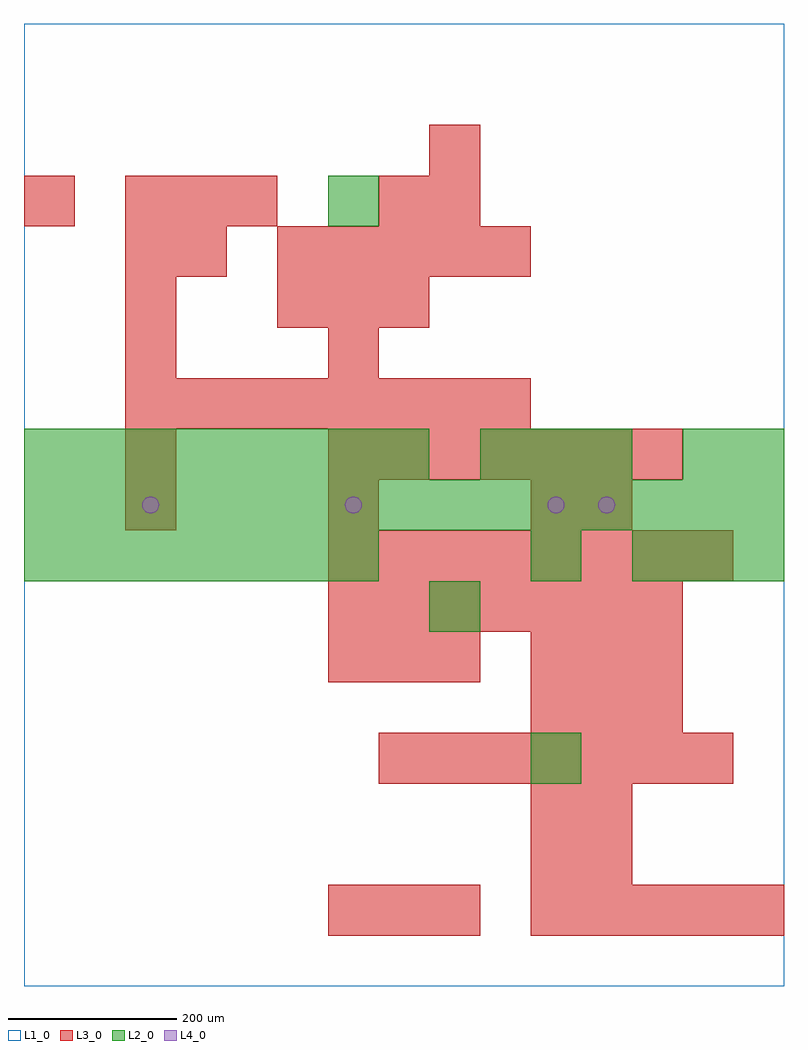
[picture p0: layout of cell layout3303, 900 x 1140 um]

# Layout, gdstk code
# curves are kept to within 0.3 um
import gdstk
lib = gdstk.Library(unit=1e-6, precision=1e-09)
def R(c, l, rs):  # rectangles x0, y0, x1, y1
    for r in rs: c.add(gdstk.rectangle(r[:2], r[2:], *l))
def A(c, l, x, y, w, h, nx, ny, dx, dy):  # array of equal rectangles
    R(c, l, [(x+i*dx, y+j*dy, x+i*dx+w, y+j*dy+h) for i in range(nx) for j in range(ny)])
def P(c, l, *ps):  # polygons
    for p in ps: c.add(gdstk.Polygon(p, *l))
L1_0 = (1, 0)
L2_0 = (2, 0)
L3_0 = (3, 0)
L4_0 = (4, 0)

layout3303 = lib.new_cell('layout3303')
R(layout3303, L1_0, [(0,0,900,1140)])
A(layout3303, L2_0, 0, 480, 60, 60, 7, 1, 60, 0)
A(layout3303, L2_0, 720, 480, 60, 60, 3, 1, 60, 0)
A(layout3303, L2_0, 0, 540, 60, 60, 15, 1, 60, 0)
A(layout3303, L2_0, 0, 600, 60, 60, 8, 1, 60, 0)
A(layout3303, L2_0, 540, 600, 60, 60, 3, 1, 60, 0)
R(layout3303, L2_0, [(600,240,660,300), (480,420,540,480), (600,480,660,540), (780,600,840,660), (840,600,900,660), (360,900,420,960)])
A(layout3303, L3_0, 360, 60, 60, 60, 3, 2, 60, 300)
A(layout3303, L3_0, 600, 60, 60, 60, 5, 1, 60, 0)
A(layout3303, L3_0, 420, 240, 60, 60, 7, 1, 60, 0)
A(layout3303, L3_0, 600, 300, 60, 60, 3, 2, 60, 60)
A(layout3303, L3_0, 360, 420, 60, 60, 7, 2, 60, 180)
A(layout3303, L3_0, 360, 480, 60, 60, 8, 1, 60, 0)
A(layout3303, L3_0, 120, 540, 60, 60, 3, 1, 240, 0)
A(layout3303, L3_0, 120, 660, 60, 60, 8, 1, 60, 0)
A(layout3303, L3_0, 120, 720, 60, 60, 1, 3, 0, 60)
A(layout3303, L3_0, 300, 780, 60, 60, 3, 1, 60, 0)
A(layout3303, L3_0, 300, 840, 60, 60, 5, 1, 60, 0)
A(layout3303, L3_0, 120, 900, 60, 60, 3, 1, 60, 0)
R(layout3303, L3_0, [(600,120,660,180), (660,120,720,180), (600,180,660,240), (660,180,720,240), (660,540,720,600), (120,600,180,660), (360,720,420,780), (180,840,240,900), (0,900,60,960), (420,900,480,960), (480,900,540,960), (480,960,540,1020)])
P(layout3303, L4_0, [(160,570),(159.239,573.827),(157.071,577.071),(153.827,579.239),(150,580),(146.173,579.239),(142.929,577.071),(140.761,573.827),(140,570),(140.761,566.173),(142.929,562.929),(146.173,560.761),(150,560),(153.827,560.761),(157.071,562.929),(159.239,566.173)],
  [(400,570),(399.239,573.827),(397.071,577.071),(393.827,579.239),(390,580),(386.173,579.239),(382.929,577.071),(380.761,573.827),(380,570),(380.761,566.173),(382.929,562.929),(386.173,560.761),(390,560),(393.827,560.761),(397.071,562.929),(399.239,566.173)],
  [(640,570),(639.239,573.827),(637.071,577.071),(633.827,579.239),(630,580),(626.173,579.239),(622.929,577.071),(620.761,573.827),(620,570),(620.761,566.173),(622.929,562.929),(626.173,560.761),(630,560),(633.827,560.761),(637.071,562.929),(639.239,566.173)],
  [(700,570),(699.239,573.827),(697.071,577.071),(693.827,579.239),(690,580),(686.173,579.239),(682.929,577.071),(680.761,573.827),(680,570),(680.761,566.173),(682.929,562.929),(686.173,560.761),(690,560),(693.827,560.761),(697.071,562.929),(699.239,566.173)])

lib.write_gds('layout3303.gds')
